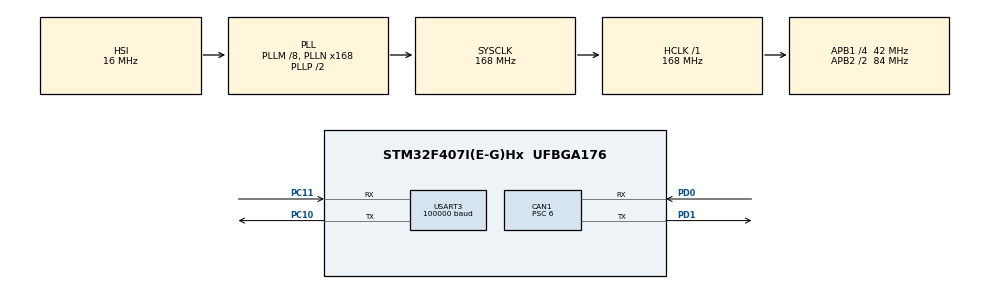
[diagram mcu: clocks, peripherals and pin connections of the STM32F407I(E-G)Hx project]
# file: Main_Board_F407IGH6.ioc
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CAN1.ABOM=ENABLE
CAN1.BS1=CAN_BS1_11TQ
CAN1.BS2=CAN_BS2_2TQ
CAN1.CalculateBaudRate=500000
CAN1.CalculateTimeBit=2000
CAN1.CalculateTimeQuantum=142.85714285714286
CAN1.NART=ENABLE
CAN1.Prescaler=6
Dma.Request0=USART3_RX
Dma.USART3_RX.0.Direction=DMA_PERIPH_TO_MEMORY
Dma.USART3_RX.0.FIFOMode=DMA_FIFOMODE_DISABLE
Dma.USART3_RX.0.Instance=DMA1_Stream1
Dma.USART3_RX.0.MemDataAlignment=DMA_MDATAALIGN_BYTE
Dma.USART3_RX.0.MemInc=DMA_MINC_ENABLE
Dma.USART3_RX.0.Mode=DMA_CIRCULAR
Dma.USART3_RX.0.PeriphDataAlignment=DMA_PDATAALIGN_BYTE
Dma.USART3_RX.0.PeriphInc=DMA_PINC_DISABLE
Dma.USART3_RX.0.Priority=DMA_PRIORITY_HIGH
Mcu.Family=STM32F4
Mcu.Name=STM32F407I(E-G)Hx
Mcu.Package=UFBGA176
NVIC.CAN1_RX0_IRQn=true\:0\:0\:false\:false\:true\:true\:true\:true
NVIC.DMA1_Stream1_IRQn=true\:0\:0\:false\:false\:true\:false\:true\:true
NVIC.PriorityGroup=NVIC_PRIORITYGROUP_4
NVIC.USART3_IRQn=true\:0\:0\:false\:false\:true\:true\:true\:true
PA13.Mode=Serial_Wire
PA13.Signal=SYS_JTMS-SWDIO
PA14.Mode=Serial_Wire
PA14.Signal=SYS_JTCK-SWCLK
PC10.Mode=Asynchronous
PC10.Signal=USART3_TX
PC11.Mode=Asynchronous
PC11.Signal=USART3_RX
PD0.Mode=CAN_Activate
PD0.Signal=CAN1_RX
PD1.Mode=CAN_Activate
PD1.Signal=CAN1_TX
PH0-OSC_IN.Mode=HSE-External-Oscillator
PH0-OSC_IN.Signal=RCC_OSC_IN
PH1-OSC_OUT.Mode=HSE-External-Oscillator
PH1-OSC_OUT.Signal=RCC_OSC_OUT
ProjectManager.HeapSize=0x200
ProjectManager.StackSize=0x400
ProjectManager.TargetToolchain=Makefile
RCC.48MHZClocksFreq_Value=84000000
RCC.AHBFreq_Value=168000000
RCC.APB1CLKDivider=RCC_HCLK_DIV4
RCC.APB1Freq_Value=42000000
RCC.APB1TimFreq_Value=84000000
RCC.APB2CLKDivider=RCC_HCLK_DIV2
RCC.APB2Freq_Value=84000000
RCC.APB2TimFreq_Value=168000000
RCC.CortexFreq_Value=168000000
RCC.HCLKFreq_Value=168000000
RCC.HSE_VALUE=12000000
RCC.HSI_VALUE=16000000
RCC.LSE_VALUE=32768
RCC.PLLM=8
RCC.PLLN=168
RCC.SYSCLKFreq_VALUE=168000000
RCC.SYSCLKSource=RCC_SYSCLKSOURCE_PLLCLK
RCC.VCOOutputFreq_Value=336000000
USART3.BaudRate=100000
USART3.Parity=PARITY_EVEN
USART3.VirtualMode=VM_ASYNC
board=custom

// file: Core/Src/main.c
/* USER CODE BEGIN Header */
/**
  ******************************************************************************
  * @file           : main.c
  * @brief          : Main program body
  ******************************************************************************
  * @attention
  *
  * Copyright (c) 2026 STMicroelectronics.
  * All rights reserved.
  *
  * This software is licensed under terms that can be found in the LICENSE file
  * in the root directory of this software component.
  * If no LICENSE file comes with this software, it is provided AS-IS.
  *
  ******************************************************************************
  */
/* USER CODE END Header */
#include "main.h"
#include "can.h"
#include "dma.h"
#include "usart.h"
#include "gpio.h"

/* USER CODE BEGIN Includes */
#include "bsp_can.h"
#include "bsp_tim.h"
#include "app_chassis.h"
#include "app_remote.h"
#include "app_debug.h"
#include "app_gimbal.h"
/* USER CODE END Includes */

/* USER CODE BEGIN PV */
static Chassis chassis_;
/* USER CODE END PV */

void SystemClock_Config(void);
/* USER CODE BEGIN PFP */
static void controlLoop(void);
/* USER CODE END PFP */

/* USER CODE BEGIN 0 */
static void controlLoop(void)
{
    switch (g_debug_.mode_) {

    case DEBUG_MODE_CHASSIS:
        debugRunChassis(&chassis_);
        break;

    case DEBUG_MODE_CAN:
        debugRunCanDirect();
        break;

    case DEBUG_MODE_NONE:
        if (rc_update) {
            if (!rcDataIsError()) {
                chassisSetTarget(&chassis_,
                    (float)remote_control.ch4_,
                    (float)remote_control.ch3_,
                    (float)remote_control.ch1_);
            }
            rc_update = 0;
        }
        chassisUpdate(&chassis_);
        chassisSendCmd(&chassis_);
        gimbalUpdate();
        gimbalSendCmd();
        break;
    }
}
/* USER CODE END 0 */

int main(void)
{

  /* MCU Configuration--------------------------------------------------------*/

  /* Reset of all peripherals, Initializes the Flash interface and the Systick. */
  HAL_Init();

  /* USER CODE BEGIN Init */
  chassisInit(&chassis_);
  debugInit();
  gimbalInit();
  /* USER CODE END Init */

  /* Configure the system clock */
  SystemClock_Config();

  /* USER CODE BEGIN SysInit */
  bspTimInit();
  /* USER CODE END SysInit */

  /* Initialize all configured peripherals */
  MX_GPIO_Init();
  MX_DMA_Init();
  MX_CAN1_Init();
  MX_USART3_UART_Init();
  /* USER CODE BEGIN 2 */
  canInit(&hcan1);
  remoteControlInit(&huart3);
  /* USER CODE END 2 */

  /* Infinite loop */
  while (1)
  {

    /* USER CODE BEGIN 3 */
    if (bspTimControlPeriodElapsed()) {
      controlLoop();
    }
  }
  /* USER CODE END 3 */
}

void SystemClock_Config(void)
{
  RCC_OscInitTypeDef RCC_OscInitStruct = {0};
  RCC_ClkInitTypeDef RCC_ClkInitStruct = {0};

  /** Configure the main internal regulator output voltage
  */
  __HAL_RCC_PWR_CLK_ENABLE();
  __HAL_PWR_VOLTAGESCALING_CONFIG(PWR_REGULATOR_VOLTAGE_SCALE1);

  /** Initializes the RCC Oscillators according to the specified parameters
  * in the RCC_OscInitTypeDef structure.
  */
  RCC_OscInitStruct.OscillatorType = RCC_OSCILLATORTYPE_HSI;
  RCC_OscInitStruct.HSIState = RCC_HSI_ON;
  RCC_OscInitStruct.HSICalibrationValue = RCC_HSICALIBRATION_DEFAULT;
  RCC_OscInitStruct.PLL.PLLState = RCC_PLL_ON;
  RCC_OscInitStruct.PLL.PLLSource = RCC_PLLSOURCE_HSI;
  RCC_OscInitStruct.PLL.PLLM = 8;
  RCC_OscInitStruct.PLL.PLLN = 168;
  RCC_OscInitStruct.PLL.PLLP = RCC_PLLP_DIV2;
  RCC_OscInitStruct.PLL.PLLQ = 4;
  if (HAL_RCC_OscConfig(&RCC_OscInitStruct) != HAL_OK)
  {
    Error_Handler();
  }

  /** Initializes the CPU, AHB and APB buses clocks
  */
  RCC_ClkInitStruct.ClockType = RCC_CLOCKTYPE_HCLK|RCC_CLOCKTYPE_SYSCLK
                              |RCC_CLOCKTYPE_PCLK1|RCC_CLOCKTYPE_PCLK2;
  RCC_ClkInitStruct.SYSCLKSource = RCC_SYSCLKSOURCE_PLLCLK;
  RCC_ClkInitStruct.AHBCLKDivider = RCC_SYSCLK_DIV1;
  RCC_ClkInitStruct.APB1CLKDivider = RCC_HCLK_DIV4;
  RCC_ClkInitStruct.APB2CLKDivider = RCC_HCLK_DIV2;

  if (HAL_RCC_ClockConfig(&RCC_ClkInitStruct, FLASH_LATENCY_5) != HAL_OK)
  {
    Error_Handler();
  }
}

/* USER CODE BEGIN 4 */
void HAL_CAN_RxFifo0MsgPendingCallback(CAN_HandleTypeDef *hcan)
{
    CAN_RxHeaderTypeDef rx_header;
    uint8_t             rx_data[8];

    if (HAL_CAN_GetRxMessage(hcan, CAN_RX_FIFO0, &rx_header, rx_data) == HAL_OK) {
        debugUpdateCanRx(rx_header.StdId, rx_data);
        debugUpdateCanState();
        chassisProcessFeedback(&chassis_, rx_header.StdId, rx_data);
        gimbalProcessFeedback(rx_header.StdId, rx_data);
    }
}

void userUartRxIdleCallback(UART_HandleTypeDef *huart)
{
    if (huart == remote_control.huart_) {
        __HAL_DMA_DISABLE(huart->hdmarx);
        remoteControlCallback(&remote_control, sbus_rx_buf);
        huart->hdmarx->Instance->NDTR = SBUS_RX_BUF_NUM;
        __HAL_DMA_ENABLE(huart->hdmarx);
    }
}
/* USER CODE END 4 */

void Error_Handler(void)
{
  __disable_irq();
  while (1)
  {
  }
}
